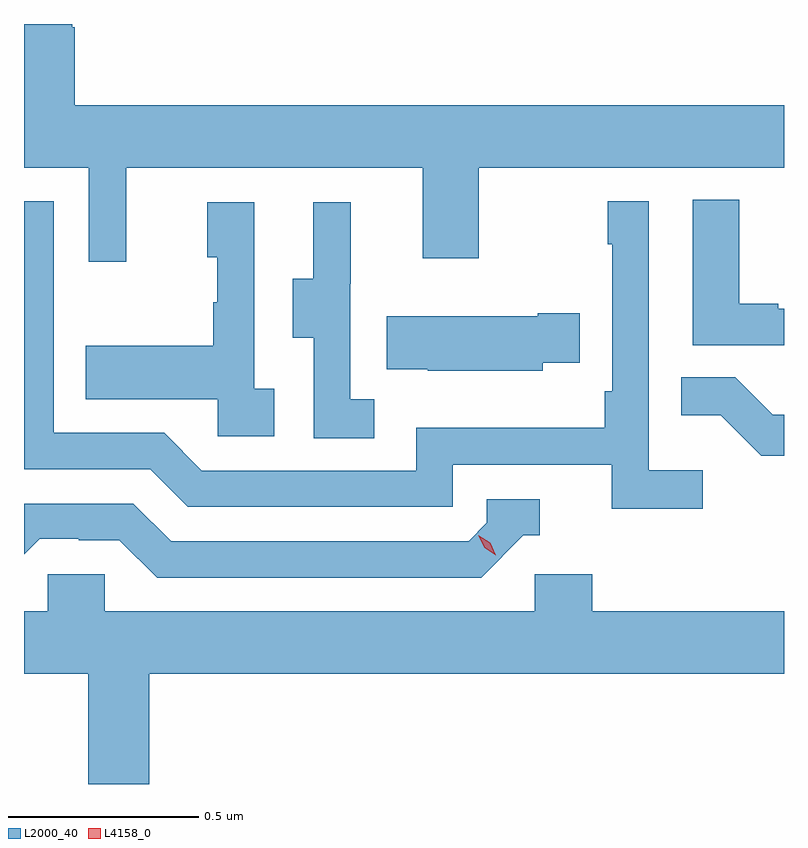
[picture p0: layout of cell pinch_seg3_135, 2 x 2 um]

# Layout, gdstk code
import gdstk
lib = gdstk.Library(unit=1e-6, precision=1e-09)
def P(c, l, *ps):  # polygons
    for p in ps: c.add(gdstk.Polygon(p, *l))
L2000_40 = (2000, 40)
L4158_0 = (4158, 0)

pinch_seg3_135 = lib.new_cell('pinch_seg3_135')
P(pinch_seg3_135, L2000_40, [(1139.339,712.904),(1140.119,712.904),(1140.119,712.665),(1140.267,712.665),(1140.267,712.904),(1141.07,712.904),(1141.07,713.068),(1139.204,713.068),(1139.204,713.273),(1139.197,713.273),(1139.197,713.282),(1139.07,713.282),(1139.07,712.904),(1139.241,712.904),(1139.241,712.656),(1139.339,712.656)],
  [(1141.07,712.533),(1141.055,712.533),(1141.055,712.546),(1140.952,712.546),(1140.952,712.819),(1140.83,712.819),(1140.83,712.437),(1141.07,712.437)],
  [(1140.856,712.108),(1140.714,712.108),(1140.714,712.816),(1140.606,712.816),(1140.606,712.703),(1140.618,712.703),(1140.618,712.315),(1140.598,712.315),(1140.598,712.219),(1140.102,712.219),(1140.102,712.107),(1139.538,712.107),(1139.439,712.206),(1139.148,712.206),(1139.148,712.815),(1139.07,712.815),(1139.07,712.11),(1139.402,712.11),(1139.501,712.011),(1140.198,712.011),(1140.198,712.122),(1140.617,712.122),(1140.617,712.006),(1140.856,712.006)],
  [(1139.992,712.295),(1139.928,712.295),(1139.928,712.599),(1139.93,712.599),(1139.93,712.813),(1139.831,712.813),(1139.831,712.611),(1139.777,712.611),(1139.777,712.456),(1139.832,712.456),(1139.832,712.192),(1139.992,712.192)],
  [(1139.728,712.322),(1139.676,712.322),(1139.676,712.813),(1139.552,712.813),(1139.552,712.668),(1139.578,712.668),(1139.578,712.55),(1139.568,712.55),(1139.568,712.435),(1139.233,712.435),(1139.233,712.295),(1139.58,712.295),(1139.58,712.197),(1139.728,712.197)],
  [(1140.435,712.391),(1140.533,712.391),(1140.533,712.521),(1140.422,712.521),(1140.422,712.513),(1140.025,712.513),(1140.025,712.373),(1140.133,712.373),(1140.133,712.37),(1140.435,712.37)],
  [(1141.07,712.254),(1141.04,712.254),(1140.942,712.352),(1140.799,712.352),(1140.799,712.253),(1140.903,712.253),(1141.01,712.146),(1141.07,712.146)],
  [(1140.384,711.936),(1140.427,711.936),(1140.427,712.032),(1140.288,712.032),(1140.288,711.969),(1140.24,711.921),(1139.457,711.921),(1139.358,712.02),(1139.07,712.02),(1139.07,711.886),(1139.111,711.927),(1139.214,711.927),(1139.214,711.924),(1139.321,711.924),(1139.42,711.825),(1140.273,711.825)],
  [(1139.399,711.572),(1141.07,711.572),(1141.07,711.736),(1140.566,711.736),(1140.566,711.834),(1140.414,711.834),(1140.414,711.736),(1139.283,711.736),(1139.283,711.834),(1139.133,711.834),(1139.133,711.736),(1139.07,711.736),(1139.07,711.572),(1139.239,711.572),(1139.239,711.282),(1139.399,711.282)])
P(pinch_seg3_135, L4158_0, [(1140.312,711.884),(1140.282,711.904),(1140.266,711.936),(1140.266,711.937),(1140.266,711.937),(1140.297,711.917),(1140.312,711.884),(1140.312,711.884)])

lib.write_gds('pinch_seg3_135.gds')
